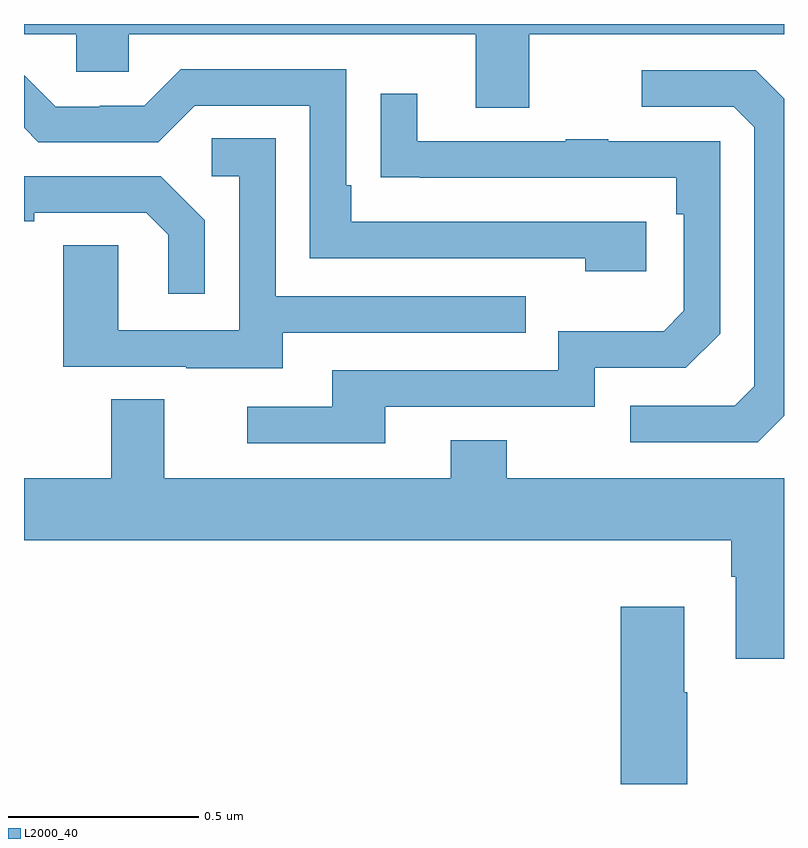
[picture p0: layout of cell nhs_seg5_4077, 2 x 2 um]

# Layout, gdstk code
import gdstk
lib = gdstk.Library(unit=1e-6, precision=1e-09)
def P(c, l, *ps):  # polygons
    for p in ps: c.add(gdstk.Polygon(p, *l))
L2000_40 = (2000, 40)

nhs_seg5_4077 = lib.new_cell('nhs_seg5_4077')
P(nhs_seg5_4077, L2000_40, [(167.329,844.772),(168,844.772),(168,844.799),(166,844.799),(166,844.772),(166.137,844.772),(166.137,844.674),(166.275,844.674),(166.275,844.772),(167.189,844.772),(167.189,844.578),(167.329,844.578)],
  [(167.638,844.278),(166.861,844.278),(166.861,844.375),(166.848,844.375),(166.848,844.68),(166.413,844.68),(166.317,844.584),(166.199,844.584),(166.199,844.581),(166.083,844.581),(166,844.664),(166,844.526),(166.038,844.488),(166.353,844.488),(166.449,844.584),(166.752,844.584),(166.752,844.182),(167.477,844.182),(167.477,844.148),(167.638,844.148)],
  [(168,843.768),(168,844.602),(167.925,844.677),(167.625,844.677),(167.625,844.581),(167.868,844.581),(167.922,844.527),(167.922,843.846),(167.871,843.795),(167.595,843.795),(167.595,843.699),(167.931,843.699)],
  [(166.951,843.792),(167.502,843.792),(167.502,843.894),(167.742,843.894),(167.832,843.984),(167.832,844.491),(167.537,844.491),(167.537,844.496),(167.425,844.496),(167.425,844.491),(167.035,844.491),(167.035,844.615),(166.939,844.615),(166.939,844.396),(167.041,844.396),(167.041,844.395),(167.716,844.395),(167.716,844.298),(167.736,844.298),(167.736,844.044),(167.683,843.991),(167.406,843.991),(167.406,843.888),(166.811,843.888),(166.811,843.792),(166.587,843.792),(166.587,843.696),(166.951,843.696)],
  [(166.681,843.987),(167.321,843.987),(167.321,844.083),(166.662,844.083),(166.662,844.499),(166.494,844.499),(166.494,844.398),(166.566,844.398),(166.566,843.993),(166.248,843.993),(166.248,844.217),(166.103,844.217),(166.103,843.897),(166.427,843.897),(166.427,843.893),(166.681,843.893)],
  [(166.476,844.282),(166.36,844.398),(166,844.398),(166,844.28),(166.027,844.28),(166.027,844.302),(166.322,844.302),(166.379,844.245),(166.379,844.089),(166.476,844.089)],
  [(167.271,843.703),(167.123,843.703),(167.123,843.604),(166.369,843.604),(166.369,843.812),(166.229,843.812),(166.229,843.604),(166,843.604),(166,843.44),(167.861,843.44),(167.861,843.344),(167.873,843.344),(167.873,843.129),(168,843.129),(168,843.604),(167.271,843.604)],
  [(167.745,843.041),(167.737,843.041),(167.737,843.265),(167.57,843.265),(167.57,842.799),(167.745,842.799)])

lib.write_gds('nhs_seg5_4077.gds')
